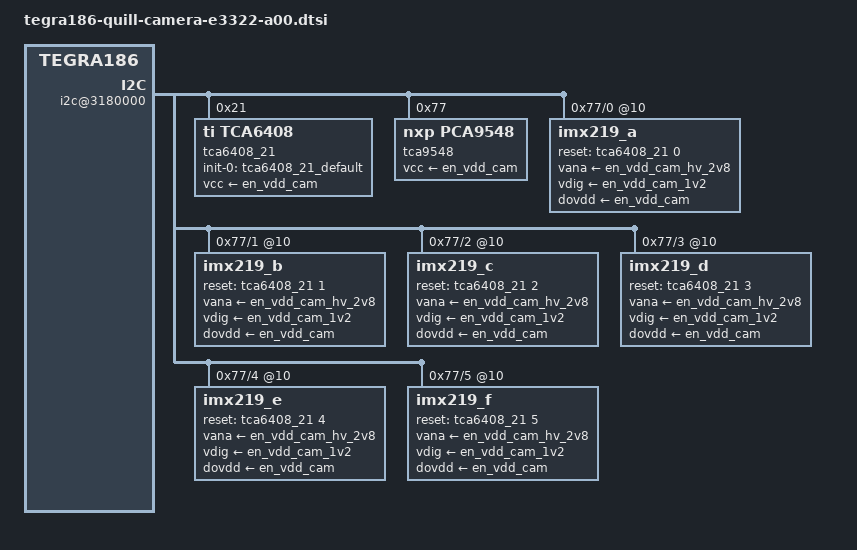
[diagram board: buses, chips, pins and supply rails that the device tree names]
/*
 * Copyright (c) 2015-2016, NVIDIA CORPORATION.  All rights reserved.
 *
 * This program is free software; you can redistribute it and/or modify
 * it under the terms of the GNU General Public License as published by
 * the Free Software Foundation; either version 2 of the License, or
 * (at your option) any later version.
 *
 * This program is distributed in the hope that it will be useful, but WITHOUT
 * ANY WARRANTY; without even the implied warranty of MERCHANTABILITY or
 * FITNESS FOR A PARTICULAR PURPOSE.  See the GNU General Public License for
 * more details.
 *
 * You should have received a copy of the GNU General Public License
 * along with this program.  If not, see <http://www.gnu.org/licenses/>.
 */
#include <tegra186-modules/tegra186-camera-e3322-a00.dtsi>
#include "dt-bindings/clock/tegra186-clock.h"

#define CAM0_RST_L     TEGRA_GPIO(R, 5)
#define CAMERA_I2C_MUX_BUS(x) (0x1E + x)

/* camera control gpio definitions */
/ {
	gpio@2200000 {
		camera-control {
			gpio-output-high = <
				CAM0_RST_L>;
		};
	};

	aliases {
		gpio288 = &tca6408_21;	/* 288 = 272 + TCA9539_GPIO_NUM */
	};

	i2c@3180000 {
		tca6408_21: tca6408@21 {
			compatible = "ti,tca6408";
			gpio-controller;
			#gpio-cells = <2>;
			reg = <0x21>;
			gpio-init-names = "default";
			gpio-init-0 = <&tca6408_21_default>;
			vcc-supply = <&en_vdd_cam>;
			tca6408_21_default: default {
				/*
				 * GPIO-6 : NC
				 * GPIO-7 : NC
				 */
				gpio-input = <6 7>;

				/*
				 * GPIO-0 : XCLR_CAM1
				 * GPIO-1 : XCLR_CAM2
				 * GPIO-2 : XCLR_CAM3
				 * GPIO-3 : XCLR_CAM4
				 * GPIO-4 : XCLR_CAM5
				 * GPIO-5 : XCLR_CAM6
				 */

				gpio-output-low = <0 1 2 3 4 5>;
			};
		};

		tca9548@77 {
			compatible = "nxp,pca9548";
			reg = <0x77>;
			#address-cells = <1>;
			#size-cells = <0>;
			vcc-supply = <&en_vdd_cam>;
			skip_mux_detect;
			force_bus_start = <CAMERA_I2C_MUX_BUS(0)>;
			i2c@0 {
				reg = <0>;
				i2c-mux,deselect-on-exit;
				#address-cells = <1>;
				#size-cells = <0>;
			};
			i2c@1 {
				reg = <1>;
				i2c-mux,deselect-on-exit;
				#address-cells = <1>;
				#size-cells = <0>;
			};
			i2c@2 {
				reg = <2>;
				i2c-mux,deselect-on-exit;
				#address-cells = <1>;
				#size-cells = <0>;
			};
			i2c@3 {
				reg = <3>;
				i2c-mux,deselect-on-exit;
				#address-cells = <1>;
				#size-cells = <0>;
			};
			i2c@4 {
				reg = <4>;
				i2c-mux,deselect-on-exit;
				#address-cells = <1>;
				#size-cells = <0>;
			};
			i2c@5 {
				reg = <5>;
				i2c-mux,deselect-on-exit;
				#address-cells = <1>;
				#size-cells = <0>;
			};
		};
	};
};

/* camera control gpio definitions */
/ {
	i2c@3180000 {
		tca9548@77 {
			i2c@0 {
				imx219_a@10 {
					clocks = <&tegra_car TEGRA186_CLK_EXTPERIPH1>;
					clock-names = "extperiph1";
					mclk = "extperiph1";
					reset-gpios = <&tca6408_21 0 GPIO_ACTIVE_HIGH>;
					vana-supply = <&en_vdd_cam_hv_2v8>;
					vdig-supply = <&en_vdd_cam_1v2>;
					dovdd-supply = <&en_vdd_cam>;
				};
			};
			i2c@1 {
				imx219_b@10 {
					clocks = <&tegra_car TEGRA186_CLK_EXTPERIPH1>;
					clock-names = "extperiph1";
					mclk = "extperiph1";
					reset-gpios = <&tca6408_21 1 GPIO_ACTIVE_HIGH>;
					vana-supply = <&en_vdd_cam_hv_2v8>;
					vdig-supply = <&en_vdd_cam_1v2>;
					dovdd-supply = <&en_vdd_cam>;
				};
			};
			i2c@2 {
				imx219_c@10 {
					clocks = <&tegra_car TEGRA186_CLK_EXTPERIPH1>;
					clock-names = "extperiph1";
					mclk = "extperiph1";
					reset-gpios = <&tca6408_21 2 GPIO_ACTIVE_HIGH>;
					vana-supply = <&en_vdd_cam_hv_2v8>;
					vdig-supply = <&en_vdd_cam_1v2>;
					dovdd-supply = <&en_vdd_cam>;
				};
			};
			i2c@3 {
				imx219_d@10 {
					clocks = <&tegra_car TEGRA186_CLK_EXTPERIPH2>;
					clock-names = "extperiph2";
					mclk = "extperiph2";
					reset-gpios = <&tca6408_21 3 GPIO_ACTIVE_HIGH>;
					vana-supply = <&en_vdd_cam_hv_2v8>;
					vdig-supply = <&en_vdd_cam_1v2>;
					dovdd-supply = <&en_vdd_cam>;
				};
			};
			i2c@4 {
				imx219_e@10 {
					clocks = <&tegra_car TEGRA186_CLK_EXTPERIPH2>;
					clock-names = "extperiph2";
					mclk = "extperiph2";
					reset-gpios = <&tca6408_21 4 GPIO_ACTIVE_HIGH>;
					vana-supply = <&en_vdd_cam_hv_2v8>;
					vdig-supply = <&en_vdd_cam_1v2>;
					dovdd-supply = <&en_vdd_cam>;
				};
			};
			i2c@5 {
				imx219_f@10 {
					clocks = <&tegra_car TEGRA186_CLK_EXTPERIPH2>;
					clock-names = "extperiph2";
					mclk = "extperiph2";
					reset-gpios = <&tca6408_21 5 GPIO_ACTIVE_HIGH>;
					vana-supply = <&en_vdd_cam_hv_2v8>;
					vdig-supply = <&en_vdd_cam_1v2>;
					dovdd-supply = <&en_vdd_cam>;
				};
			};
		};
	};
};

